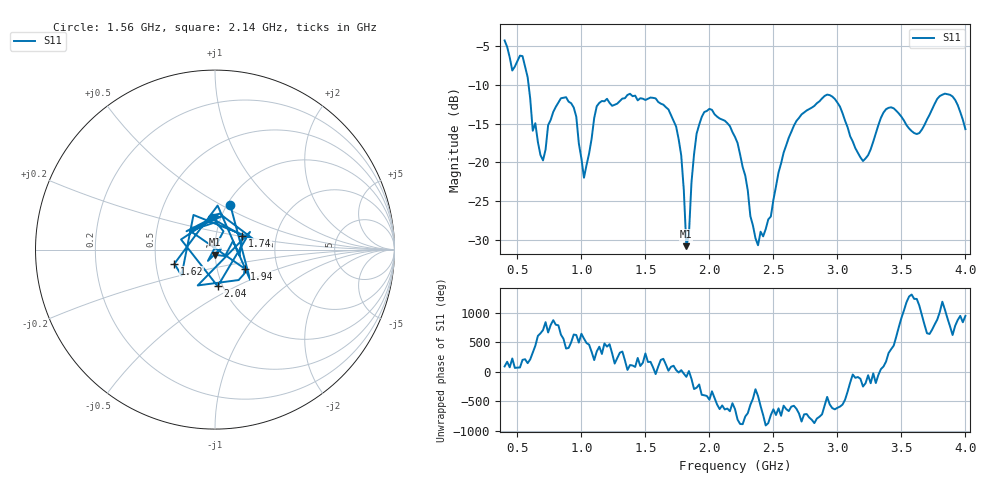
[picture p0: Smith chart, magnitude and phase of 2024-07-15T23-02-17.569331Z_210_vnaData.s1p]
!Created with skrf (http://scikit-rf.org).
# Hz S RI R 50.0
!freq ReS11 ImS11
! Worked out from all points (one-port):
!   181 points, 400 MHz to 4 GHz, reference 50 ohm
!   lowest |S11| = -30.8 dB at 1.82 GHz (marker M1), VSWR 1.06, Z = 50 - j2.88 ohm
!   |S11| at or under -10 dB: 587.3 MHz to end of sweep
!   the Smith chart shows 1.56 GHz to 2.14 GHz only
!   S11 on the Smith chart (normalised r, x): 1.56 GHz: 1.04, +0.55; 1.62 GHz: 0.62, -0.10; 1.74 GHz: 1.34, +0.22; 1.94 GHz: 1.36, -0.30; 2.04 GHz: 0.95, -0.40; 2.14 GHz: 0.92, +0.34
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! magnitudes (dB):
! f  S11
! 400 MHz  -4.2
! 460 MHz  -8.1
! 540 MHz  -6.3
! 700 MHz  -19.7
! 860 MHz  -11.7
! 960 MHz  -14.1
! 1.02 GHz  -22.0
! 1.12 GHz  -12.7
! 1.3 GHz  -12.1
! 1.56 GHz  -11.7
! 1.62 GHz  -12.4
! 1.74 GHz  -15.4
! 1.76 GHz  -17.0
! 1.82 GHz  -30.8
! 1.88 GHz  -19.0
! 1.94 GHz  -14.1
! 2.04 GHz  -13.8
! 2.14 GHz  -14.9
! 2.2 GHz  -16.7
! 2.38 GHz  -30.7
! 2.66 GHz  -15.3
! 2.92 GHz  -11.2
! 3.1 GHz  -16.6
! 3.2 GHz  -19.8
! 3.38 GHz  -13.1
! 3.56 GHz  -15.6
! 3.84 GHz  -11.1
! 4 GHz  -15.7
